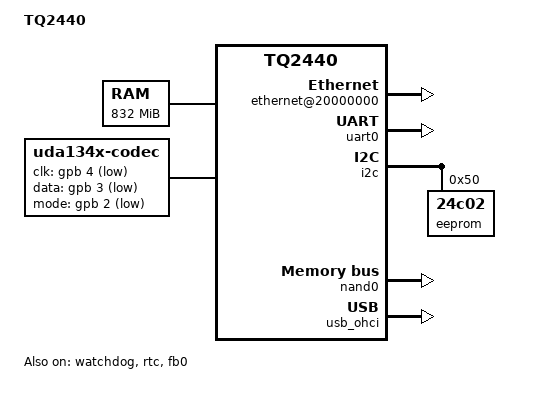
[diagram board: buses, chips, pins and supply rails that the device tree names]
/*
 * SAMSUNG SMDK2416 board device tree source
 *
 * Copyright (c) 2013 Heiko Stuebner <heiko@sntech.de>
 *
 * This program is free software; you can redistribute it and/or modify
 * it under the terms of the GNU General Public License version 2 as
 * published by the Free Software Foundation.
 */

/dts-v1/;
#include "s3c2440.dtsi"
#include <dt-bindings/interrupt-controller/irq.h>
#include <dt-bindings/gpio/gpio.h>
#include <dt-bindings/dma/s3c2440_dma_ch.h>

/ {
	model = "TQ2440";
	compatible = "samsung,s3c2440", "samsung,tq2440";

	aliases {
		i2c1 = &i2c_gpio_1;
	};

	memory {
		reg =  <0x30000000 0x34000000>;
	};

	chosen {
		/*bootargs = "noinitrd root=/dev/mtdblock3 init=/linuxrc console=ttySAC0,115200n8 earlyprintk";*/
		bootargs = "root=/dev/ram0 rw rootfstype=ext2 console=ttySAC0,115200n8 init=/linuxrc ignore_loglevel earlyprintk";
	};

	srom-cs4@20000000 {
		compatible = "simple-bus";
		#address-cells = <1>;
		#size-cells = <1>;
		reg = <0x20000000 0x8000000>;
		ranges;

		ethernet@20000000 {
			compatible = "davicom,dm9000";
			reg = <0x20000000 0x2 0x20000004 0x2>;
			interrupt-parent = <&gpf>;
			interrupts = <7 IRQ_TYPE_EDGE_RISING>;
			local-mac-address = [00 00 de ad be ef];
			davicom,no-eeprom;
		};
	};

	i2c_gpio_1: i2c-gpio-1 {
		compatible = "i2c-gpio";
		#address-cells = <1>;
		#size-cells = <0>;
		gpios = <&gpe 15 GPIO_ACTIVE_HIGH>,  // SDA
			<&gpe 14 GPIO_ACTIVE_HIGH>;  // SCL
		i2c-gpio,delay-us = <5>; // 100KHz
		status = "disabled";

		eeprom@50 {
			compatible = "24c02";
			reg = <0x50>;
			pagesize = <32>;
			status = "okay";
		};
	};

	fb0: fb@4d000000{
		compatible = "tq2440,lcd";
		reg = <0x4D000000 0x60>;
		interrupts = <0 0 16 3>;
		clocks = <&clocks HCLK_LCD>;
		clock-names = "lcd";
		pinctrl-names = "default";
		pinctrl-0 = <&lcd_pinctrl &lcd_backlight>;
		status = "okay";

		lcdcon5 = <0xb09>;
		type = <0x60>;
		width = /bits/ 16 <480>;
		height = /bits/ 16 <272>;
		pixclock = <100000>;
		xres = /bits/ 16 <480>;
		yres = /bits/ 16 <272>;
		bpp = /bits/ 16 <16>;
		left_margin = /bits/ 16 <2>;
		right_margin =/bits/ 16  <2>;
		hsync_len = /bits/ 16 <41>;
		upper_margin = /bits/ 16 <2>;
		lower_margin = /bits/ 16 <2>;
		vsync_len = /bits/ 16 <10>;
	};

	tq2440ts@5800000 {
		compatible = "tq2440,ts";
		reg = <0x58000000 0x100>;
		reg-names = "adc_ts_physical";
		interrupts = <1 31 9 3>, <1 31 10 3>;
		interrupt-names = "int_ts", "int_adc_s";
		clocks = <&clocks PCLK_ADC>;
		clock-names = "adc";
	};

	dma: s3c2410-dma@4B000000 {
		compatible = "s3c2440-dma";
		reg = <0x4B000000 0x1000>;
		interrupts = <0 0 17 3>, <0 0 18 3>,
				<0 0 19 3>, <0 0 20 3>;
		#dma-cells = <1>;
	};

	s3c2440_iis@55000000 {
		compatible = "s3c24xx-iis";
		reg = <0x55000000 0x100>;
		clocks = <&clocks PCLK_I2S>;
		clock-names = "iis";
		pinctrl-names = "default";
		pinctrl-0 = <&s3c2440_iis_pinctrl>;
		dmas = <&dma DMACH_I2S_IN>, <&dma DMACH_I2S_OUT>;
		dma-names = "rx", "tx";
	};

	s3c24xx_uda134x {
		compatible = "s3c24xx_uda134x";
		clocks = <&clocks MPLL>, <&clocks PCLK_I2S>;
		clock-names = "mpll", "iis";
	};

	uda134x-codec {
		compatible = "uda134x-codec";
		pinctrl-names = "default";
		pinctrl-0 = <&uda1340_codec_pinctrl>;

		uda,clk_gpio  = <&gpb 4 GPIO_ACTIVE_LOW>;
		uda,data_gpio = <&gpb 3 GPIO_ACTIVE_LOW>;
		uda,mode_gpio = <&gpb 2 GPIO_ACTIVE_LOW>;

		uda,use_gpios;
		uda,data_hold;
		uda,data_setup;
		uda,clock_high;
		uda,mode_hold;
		uda,mode;
		uda,mode_setup;

		uda,model = <2>;  //UDA134X_UDA1341
	};
};

&watchdog {
	status = "okay";
};

&rtc {
	status = "okay";
};

&uart0 {
	status = "okay";
};

&i2c {
	status = "okay";
	samsung,i2c-max-bus-freq = <200000>;

	eeprom@50 {
		compatible = "24c02";
		reg = <0x50>;
		pagesize = <32>;
		status = "okay";
	};
};

&nand0 {
	status = "okay";
	nand,tacls = <0xa>;
	nand,twrph0 = <0x19>;
	nand,twrph1 = <0xa>;

	#address-cells = <1>;
	#size-cells = <1>;

	partitions {
		/* MTD partition table */
		#address-cells = <1>;
		#size-cells = <1>;
		nr-chips = <1>;
		set-name = "tq2440-0";

		partition@0 {
			label = "SPL";
			reg = <0x0000000 0x100000>;
			read-only;
		};

		partition@100000 {
			label = "U-BOOT";
			reg = <0x0100000 0x100000>;
			read-only;
		};

		partition@200000 {
			label = "PARAMS";
			reg = <0x0200000 0x100000>;
			read-only;
		};

		partition@300000 {
			label = "KERNEL";
			reg = <0x300000 0x500000>;
			read-only;
		};

		partition@600000 {
			label = "DTB";
			reg = <0x800000 0x100000>;
			read-only;
		};

		partition@700000 {
			label = "ROOTFS";
			reg = <0x900000 0x0>;
		};
	};
};

&usb_ohci {
	status = "okay";
};
